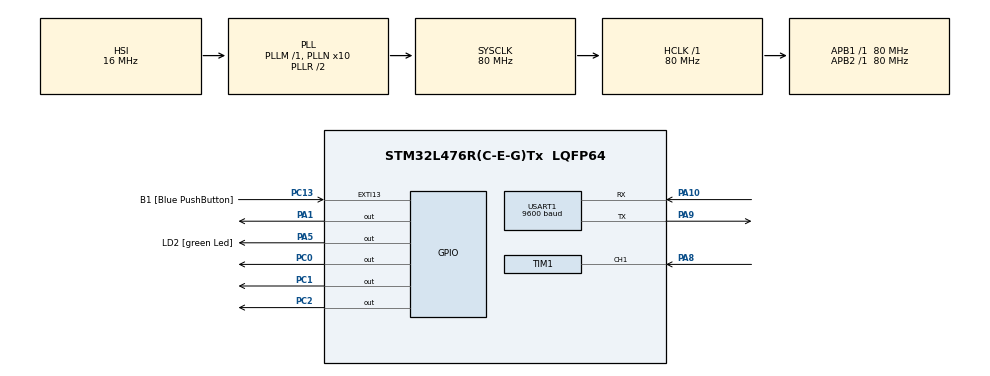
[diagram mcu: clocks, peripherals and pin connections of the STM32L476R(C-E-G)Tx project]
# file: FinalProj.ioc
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Mcu.Family=STM32L4
Mcu.Name=STM32L476R(C-E-G)Tx
Mcu.Package=LQFP64
NVIC.PriorityGroup=NVIC_PRIORITYGROUP_4
NVIC.TIM1_CC_IRQn=true\:0\:0\:false\:false\:true\:true\:true\:true
PA1.Signal=GPIO_Output
PA10.Mode=Asynchronous
PA10.Signal=USART1_RX
PA13\ (JTMS-SWDIO).GPIO_Label=TMS
PA13\ (JTMS-SWDIO).Mode=Serial_Wire
PA13\ (JTMS-SWDIO).Signal=SYS_JTMS-SWDIO
PA14\ (JTCK-SWCLK).GPIO_Label=TCK
PA14\ (JTCK-SWCLK).Mode=Serial_Wire
PA14\ (JTCK-SWCLK).Signal=SYS_JTCK-SWCLK
PA3.GPIO_Label=USART_RX
PA3.GPIO_Mode=GPIO_MODE_AF_PP
PA3.GPIO_PuPd=GPIO_NOPULL
PA3.GPIO_Speed=GPIO_SPEED_FREQ_VERY_HIGH
PA3.Signal=USART2_RX
PA5.GPIO_Label=LD2 [green Led]
PA5.GPIO_ModeDefaultOutputPP=GPIO_MODE_OUTPUT_PP
PA5.GPIO_PuPd=GPIO_NOPULL
PA5.GPIO_Speed=GPIO_SPEED_FREQ_LOW
PA5.Signal=GPIO_Output
PA8.Signal=S_TIM1_CH1
PA9.Mode=Asynchronous
PA9.Signal=USART1_TX
PB3\ (JTDO-TRACESWO).GPIO_Label=SWO
PB3\ (JTDO-TRACESWO).Signal=SYS_JTDO-SWO
PC0.Signal=GPIO_Output
PC1.Signal=GPIO_Output
PC13.GPIO_Label=B1 [Blue PushButton]
PC13.GPIO_ModeDefaultEXTI=GPIO_MODE_IT_FALLING
PC13.GPIO_PuPd=GPIO_NOPULL
PC13.Signal=GPXTI13
PC14-OSC32_IN\ (PC14).Mode=LSE-External-Oscillator
PC14-OSC32_IN\ (PC14).Signal=RCC_OSC32_IN
PC15-OSC32_OUT\ (PC15).Mode=LSE-External-Oscillator
PC15-OSC32_OUT\ (PC15).Signal=RCC_OSC32_OUT
PC2.Signal=GPIO_Output
PH0-OSC_IN\ (PH0).Signal=RCC_OSC_IN
PH1-OSC_OUT\ (PH1).Signal=RCC_OSC_OUT
ProjectManager.HeapSize=0x200
ProjectManager.StackSize=0x400
ProjectManager.TargetToolchain=STM32CubeIDE
RCC.ADCFreq_Value=64000000
RCC.AHBFreq_Value=80000000
RCC.APB1Freq_Value=80000000
RCC.APB1TimFreq_Value=80000000
RCC.APB2Freq_Value=80000000
RCC.APB2TimFreq_Value=80000000
RCC.CortexFreq_Value=80000000
RCC.HCLKFreq_Value=80000000
RCC.HSE_VALUE=8000000
RCC.HSI_VALUE=16000000
RCC.MSI_VALUE=4000000
RCC.PLLN=10
RCC.PLLSourceVirtual=RCC_PLLSOURCE_HSI
RCC.PREFETCH_ENABLE=1
RCC.SYSCLKFreq_VALUE=80000000
RCC.SYSCLKSource=RCC_SYSCLKSOURCE_PLLCLK
RCC.USBFreq_Value=64000000
RCC.VCOOutputFreq_Value=160000000
SH.S_TIM1_CH1.0=TIM1_CH1,Input_Capture1_from_TI1
TIM1.Channel-Input_Capture1_from_TI1=TIM_CHANNEL_1
TIM1.Prescaler=79
USART1.BaudRate=9600
USART1.VirtualMode-Asynchronous=VM_ASYNC
VP_TIM1_VS_ClockSourceINT.Mode=Internal
board=NUCLEO-L476RG

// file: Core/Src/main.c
/* USER CODE BEGIN Header */
/**
  ******************************************************************************
  * @file           : main.c
  * @brief          : Main program body
  ******************************************************************************
  * @attention
  *
  * Copyright (c) 2026 STMicroelectronics.
  * All rights reserved.
  *
  * This software is licensed under terms that can be found in the LICENSE file
  * in the root directory of this software component.
  * If no LICENSE file comes with this software, it is provided AS-IS.
  *
  ******************************************************************************
  */
/* USER CODE END Header */
#include "main.h"

/* USER CODE BEGIN Includes */
#include <stdio.h>
#include <string.h>
/* USER CODE END Includes */

TIM_HandleTypeDef htim1;

UART_HandleTypeDef huart1;

/* USER CODE BEGIN PV */
volatile uint32_t IC_Val1 = 0;
volatile uint32_t IC_Val2 = 0;
volatile uint8_t  IC_Done = 0;
volatile uint8_t  IC_Edge = 0; // 0 = waiting for rising, 1 = waiting for falling

/* USER CODE END PV */

void SystemClock_Config(void);
static void MX_GPIO_Init(void);
static void MX_TIM1_Init(void);
static void MX_USART1_UART_Init(void);
/* USER CODE BEGIN PFP */
void HAL_TIM_IC_CaptureCallback(TIM_HandleTypeDef *htim);

/* USER CODE END PFP */

/* USER CODE BEGIN 0 */

/* Helper functions for the LCD */
void LCD_SendCmd(uint8_t cmd)
{
    uint8_t buf[2] = {0xFE, cmd};
    HAL_UART_Transmit(&huart1, buf, 2, HAL_MAX_DELAY);
    HAL_Delay(5);
}

void LCD_Clear(void)
{
    LCD_SendCmd(0x51);
    HAL_Delay(2);
}

void LCD_SetCursor(uint8_t pos)
{
    uint8_t buf[2] = {0xFE, 0x45};
    HAL_UART_Transmit(&huart1, buf, 2, HAL_MAX_DELAY);
    HAL_UART_Transmit(&huart1, &pos, 1, HAL_MAX_DELAY);
    HAL_Delay(5);
}

void LCD_Print(char *str)
{
    HAL_UART_Transmit(&huart1, (uint8_t*)str, strlen(str), HAL_MAX_DELAY);
}

void LCD_Init(void)
{
	HAL_Delay(500);

	// Display on
	uint8_t on[] = {0xFE, 0x41};
	HAL_UART_Transmit(&huart1, on, 2, HAL_MAX_DELAY);
	HAL_Delay(10);

	// Set contrast to 40
	uint8_t contrast[] = {0xFE, 0x52, 40};
	HAL_UART_Transmit(&huart1, contrast, 3, HAL_MAX_DELAY);
	HAL_Delay(10);

	// Set backlight to 8
	uint8_t brightness[] = {0xFE, 0x53, 8};
	HAL_UART_Transmit(&huart1, brightness, 3, HAL_MAX_DELAY);
	HAL_Delay(10);

	// Clear screen
	uint8_t clear[] = {0xFE, 0x51};
	HAL_UART_Transmit(&huart1, clear, 2, HAL_MAX_DELAY);
	HAL_Delay(10);
}

// --- Helper Functions for HC-SR04 Trigger ---

void HC_SR04_Trigger(void)
{
    HAL_GPIO_WritePin(GPIOA, GPIO_PIN_1, GPIO_PIN_SET);
    // 10us delay using DWT or simple loop
    // At 80MHz, ~800 cycles = 10us
    for(volatile int i = 0; i < 800; i++);
    HAL_GPIO_WritePin(GPIOA, GPIO_PIN_1, GPIO_PIN_RESET);
}

uint32_t HC_SR04_GetDistance(void)
{
    IC_Done = 0;
    IC_Edge = 0;
    IC_Val1 = 0;
    IC_Val2 = 0;

    // Set input capture to rising edge
    __HAL_TIM_SET_CAPTUREPOLARITY(&htim1, TIM_CHANNEL_1, TIM_INPUTCHANNELPOLARITY_RISING);
    HAL_TIM_IC_Start_IT(&htim1, TIM_CHANNEL_1);

    HC_SR04_Trigger();

    // Wait for measurement to complete (max ~30ms timeout)
    uint32_t timeout = HAL_GetTick();
    while (!IC_Done)
    {
        if ((HAL_GetTick() - timeout) > 30)
        {
            HAL_TIM_IC_Stop_IT(&htim1, TIM_CHANNEL_1);
            return 999; // timeout — nothing detected
        }
    }

    HAL_TIM_IC_Stop_IT(&htim1, TIM_CHANNEL_1);

    uint32_t pulse_width;
    if (IC_Val2 >= IC_Val1)
        pulse_width = IC_Val2 - IC_Val1;
    else
        pulse_width = (65535 - IC_Val1) + IC_Val2; // handle timer overflow

    uint32_t distance = pulse_width / 58; // convert µs to cm
    return distance;
}

// --- Helper Function for LED Logic ---

void Set_LEDs(uint32_t distance)
{
    if (distance > 30)
    {
        // All off — nothing close
        HAL_GPIO_WritePin(GPIOC, GPIO_PIN_0, GPIO_PIN_RESET); // Green
        HAL_GPIO_WritePin(GPIOC, GPIO_PIN_1, GPIO_PIN_RESET); // Yellow
        HAL_GPIO_WritePin(GPIOC, GPIO_PIN_2, GPIO_PIN_RESET); // Red
    }
    else if (distance > 15)
    {
        // Green only
        HAL_GPIO_WritePin(GPIOC, GPIO_PIN_0, GPIO_PIN_SET);
        HAL_GPIO_WritePin(GPIOC, GPIO_PIN_1, GPIO_PIN_RESET);
        HAL_GPIO_WritePin(GPIOC, GPIO_PIN_2, GPIO_PIN_RESET);
    }
    else if (distance > 5)
    {
        // Green + Yellow
        HAL_GPIO_WritePin(GPIOC, GPIO_PIN_0, GPIO_PIN_SET);
        HAL_GPIO_WritePin(GPIOC, GPIO_PIN_1, GPIO_PIN_SET);
        HAL_GPIO_WritePin(GPIOC, GPIO_PIN_2, GPIO_PIN_RESET);
    }
    else
    {
        // All three on — very close
        HAL_GPIO_WritePin(GPIOC, GPIO_PIN_0, GPIO_PIN_SET);
        HAL_GPIO_WritePin(GPIOC, GPIO_PIN_1, GPIO_PIN_SET);
        HAL_GPIO_WritePin(GPIOC, GPIO_PIN_2, GPIO_PIN_SET);
    }
}

/* USER CODE END 0 */

int main(void)
{

  /* MCU Configuration--------------------------------------------------------*/

  /* Reset of all peripherals, Initializes the Flash interface and the Systick. */
  HAL_Init();

  /* Configure the system clock */
  SystemClock_Config();

  /* Initialize all configured peripherals */
  MX_GPIO_Init(); //GPIO
  MX_TIM1_Init(); //Timer 1
  MX_USART1_UART_Init();
  /* USER CODE BEGIN 2 */

  LCD_Init();
  LCD_SetCursor(0x00);
  LCD_Print("Proximity Sensor");
  HAL_Delay(1500);
  LCD_Clear();
  /* USER CODE END 2 */

  /* Infinite loop */
  /* USER CODE BEGIN WHILE */
  while (1)
  {
	  uint32_t dist = HC_SR04_GetDistance();

	  char line1[21];
	  char line2[21];

	  if (dist == 999)
	  {
		  snprintf(line1, sizeof(line1), "Distance: ---  cm   ");
	      snprintf(line2, sizeof(line2), "Status: No Object   ");
	  } else {
		  snprintf(line1, sizeof(line1), "Distance: %3lu cm    ", dist);

		  if (dist > 30)
			  snprintf(line2, sizeof(line2), "Status: Clear       ");
		  else if (dist > 15)
			  snprintf(line2, sizeof(line2), "Status: Approaching ");
		  else if (dist > 5)
			  snprintf(line2, sizeof(line2), "Status: WARNING     ");
		  else
			  snprintf(line2, sizeof(line2), "Status: STOP!       ");
	  }

	  LCD_SetCursor(0x00);
	  LCD_Print(line1);
	  LCD_SetCursor(0x40);
	  LCD_Print(line2);

	  Set_LEDs(dist);

	  HAL_Delay(200);

    /* USER CODE END WHILE */

  }
}

void SystemClock_Config(void)
{
  RCC_OscInitTypeDef RCC_OscInitStruct = {0};
  RCC_ClkInitTypeDef RCC_ClkInitStruct = {0};

  /** Configure the main internal regulator output voltage
  */
  if (HAL_PWREx_ControlVoltageScaling(PWR_REGULATOR_VOLTAGE_SCALE1) != HAL_OK)
  {
    Error_Handler();
  }

  /** Initializes the RCC Oscillators according to the specified parameters
  * in the RCC_OscInitTypeDef structure.
  */
  RCC_OscInitStruct.OscillatorType = RCC_OSCILLATORTYPE_HSI;
  RCC_OscInitStruct.HSIState = RCC_HSI_ON;
  RCC_OscInitStruct.HSICalibrationValue = RCC_HSICALIBRATION_DEFAULT;
  RCC_OscInitStruct.PLL.PLLState = RCC_PLL_ON;
  RCC_OscInitStruct.PLL.PLLSource = RCC_PLLSOURCE_HSI;
  RCC_OscInitStruct.PLL.PLLM = 1;
  RCC_OscInitStruct.PLL.PLLN = 10;
  RCC_OscInitStruct.PLL.PLLP = RCC_PLLP_DIV7;
  RCC_OscInitStruct.PLL.PLLQ = RCC_PLLQ_DIV2;
  RCC_OscInitStruct.PLL.PLLR = RCC_PLLR_DIV2;
  if (HAL_RCC_OscConfig(&RCC_OscInitStruct) != HAL_OK)
  {
    Error_Handler();
  }

  /** Initializes the CPU, AHB and APB buses clocks
  */
  RCC_ClkInitStruct.ClockType = RCC_CLOCKTYPE_HCLK|RCC_CLOCKTYPE_SYSCLK
                              |RCC_CLOCKTYPE_PCLK1|RCC_CLOCKTYPE_PCLK2;
  RCC_ClkInitStruct.SYSCLKSource = RCC_SYSCLKSOURCE_PLLCLK;
  RCC_ClkInitStruct.AHBCLKDivider = RCC_SYSCLK_DIV1;
  RCC_ClkInitStruct.APB1CLKDivider = RCC_HCLK_DIV1;
  RCC_ClkInitStruct.APB2CLKDivider = RCC_HCLK_DIV1;

  if (HAL_RCC_ClockConfig(&RCC_ClkInitStruct, FLASH_LATENCY_4) != HAL_OK)
  {
    Error_Handler();
  }
}

static void MX_TIM1_Init(void)
{

  TIM_ClockConfigTypeDef sClockSourceConfig = {0};
  TIM_MasterConfigTypeDef sMasterConfig = {0};
  TIM_IC_InitTypeDef sConfigIC = {0};

  htim1.Instance = TIM1;
  htim1.Init.Prescaler = 79;
  htim1.Init.CounterMode = TIM_COUNTERMODE_UP;
  htim1.Init.Period = 65535;
  htim1.Init.ClockDivision = TIM_CLOCKDIVISION_DIV1;
  htim1.Init.RepetitionCounter = 0;
  htim1.Init.AutoReloadPreload = TIM_AUTORELOAD_PRELOAD_DISABLE;
  if (HAL_TIM_Base_Init(&htim1) != HAL_OK)
  {
    Error_Handler();
  }
  sClockSourceConfig.ClockSource = TIM_CLOCKSOURCE_INTERNAL;
  if (HAL_TIM_ConfigClockSource(&htim1, &sClockSourceConfig) != HAL_OK)
  {
    Error_Handler();
  }
  if (HAL_TIM_IC_Init(&htim1) != HAL_OK)
  {
    Error_Handler();
  }
  sMasterConfig.MasterOutputTrigger = TIM_TRGO_RESET;
  sMasterConfig.MasterOutputTrigger2 = TIM_TRGO2_RESET;
  sMasterConfig.MasterSlaveMode = TIM_MASTERSLAVEMODE_DISABLE;
  if (HAL_TIMEx_MasterConfigSynchronization(&htim1, &sMasterConfig) != HAL_OK)
  {
    Error_Handler();
  }
  sConfigIC.ICPolarity = TIM_INPUTCHANNELPOLARITY_RISING;
  sConfigIC.ICSelection = TIM_ICSELECTION_DIRECTTI;
  sConfigIC.ICPrescaler = TIM_ICPSC_DIV1;
  sConfigIC.ICFilter = 0;
  if (HAL_TIM_IC_ConfigChannel(&htim1, &sConfigIC, TIM_CHANNEL_1) != HAL_OK)
  {
    Error_Handler();
  }

}

static void MX_USART1_UART_Init(void)
{

  huart1.Instance = USART1;
  huart1.Init.BaudRate = 9600;
  huart1.Init.WordLength = UART_WORDLENGTH_8B;
  huart1.Init.StopBits = UART_STOPBITS_1;
  huart1.Init.Parity = UART_PARITY_NONE;
  huart1.Init.Mode = UART_MODE_TX_RX;
  huart1.Init.HwFlowCtl = UART_HWCONTROL_NONE;
  huart1.Init.OverSampling = UART_OVERSAMPLING_16;
  huart1.Init.OneBitSampling = UART_ONE_BIT_SAMPLE_DISABLE;
  huart1.AdvancedInit.AdvFeatureInit = UART_ADVFEATURE_NO_INIT;
  if (HAL_UART_Init(&huart1) != HAL_OK)
  {
    Error_Handler();
  }

}

static void MX_GPIO_Init(void)
{
  GPIO_InitTypeDef GPIO_InitStruct = {0};

  /* GPIO Ports Clock Enable */
  __HAL_RCC_GPIOC_CLK_ENABLE();
  __HAL_RCC_GPIOH_CLK_ENABLE();
  __HAL_RCC_GPIOA_CLK_ENABLE();
  __HAL_RCC_GPIOB_CLK_ENABLE();

  /*Configure GPIO pin Output Level */
  HAL_GPIO_WritePin(GPIOC, GPIO_PIN_0|GPIO_PIN_1|GPIO_PIN_2, GPIO_PIN_RESET);

  /*Configure GPIO pin Output Level */
  HAL_GPIO_WritePin(GPIOA, GPIO_PIN_1|LD2_Pin, GPIO_PIN_RESET);

  /*Configure GPIO pin : B1_Pin */
  GPIO_InitStruct.Pin = B1_Pin;
  GPIO_InitStruct.Mode = GPIO_MODE_IT_FALLING;
  GPIO_InitStruct.Pull = GPIO_NOPULL;
  HAL_GPIO_Init(B1_GPIO_Port, &GPIO_InitStruct);

  /*Configure GPIO pins : PC0 PC1 PC2 */
  GPIO_InitStruct.Pin = GPIO_PIN_0|GPIO_PIN_1|GPIO_PIN_2;
  GPIO_InitStruct.Mode = GPIO_MODE_OUTPUT_PP;
  GPIO_InitStruct.Pull = GPIO_NOPULL;
  GPIO_InitStruct.Speed = GPIO_SPEED_FREQ_LOW;
  HAL_GPIO_Init(GPIOC, &GPIO_InitStruct);

  /*Configure GPIO pins : PA1 LD2_Pin */
  GPIO_InitStruct.Pin = GPIO_PIN_1|LD2_Pin;
  GPIO_InitStruct.Mode = GPIO_MODE_OUTPUT_PP;
  GPIO_InitStruct.Pull = GPIO_NOPULL;
  GPIO_InitStruct.Speed = GPIO_SPEED_FREQ_LOW;
  HAL_GPIO_Init(GPIOA, &GPIO_InitStruct);

  /*Configure GPIO pin : USART_RX_Pin */
  GPIO_InitStruct.Pin = USART_RX_Pin;
  GPIO_InitStruct.Mode = GPIO_MODE_AF_PP;
  GPIO_InitStruct.Pull = GPIO_NOPULL;
  GPIO_InitStruct.Speed = GPIO_SPEED_FREQ_VERY_HIGH;
  GPIO_InitStruct.Alternate = GPIO_AF7_USART2;
  HAL_GPIO_Init(USART_RX_GPIO_Port, &GPIO_InitStruct);

}

/* USER CODE BEGIN 4 */

//Input capture interrupt callback
void HAL_TIM_IC_CaptureCallback(TIM_HandleTypeDef *htim)
{
    if (htim->Instance == TIM1 && htim->Channel == HAL_TIM_ACTIVE_CHANNEL_1)
    {
        if (IC_Edge == 0)
        {
            // Captured rising edge — record start time
            IC_Val1 = HAL_TIM_ReadCapturedValue(htim, TIM_CHANNEL_1);
            IC_Edge = 1;
            // Switch to falling edge
            __HAL_TIM_SET_CAPTUREPOLARITY(htim, TIM_CHANNEL_1,
                                           TIM_INPUTCHANNELPOLARITY_FALLING);
        }
        else
        {
            // Captured falling edge — record end time
            IC_Val2 = HAL_TIM_ReadCapturedValue(htim, TIM_CHANNEL_1);
            IC_Done = 1;
            IC_Edge = 0;
        }
    }
}

/* USER CODE END 4 */

void Error_Handler(void)
{
  __disable_irq();
  while (1)
  {
  }
}
